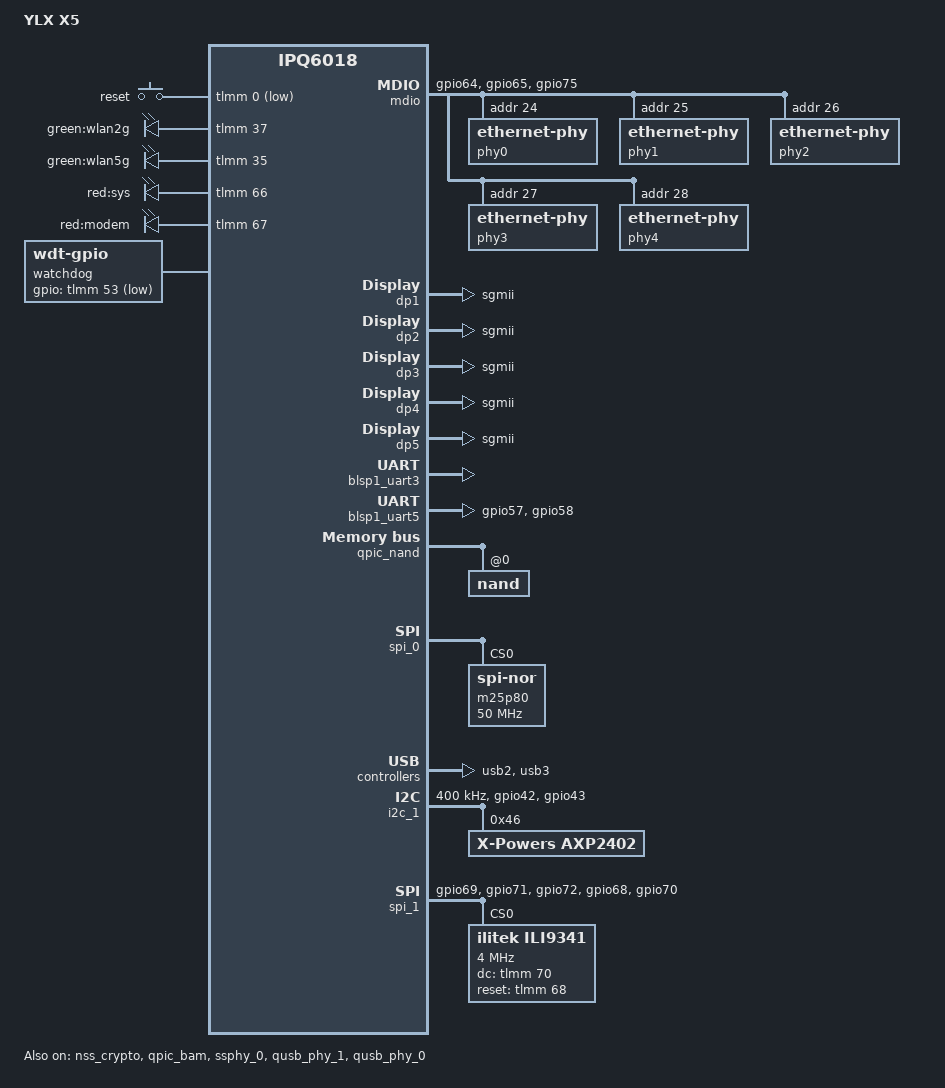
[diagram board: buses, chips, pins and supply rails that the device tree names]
// SPDX-License-Identifier: GPL-2.0-only
/* Copyright (c) 2020 The Linux Foundation. All rights reserved.
 */

/dts-v1/;

#include "ipq6018.dtsi"
#include <dt-bindings/input/input.h>

/ {
	#address-cells = <0x2>;
	#size-cells = <0x2>;
	model = "YLX X5";
	compatible = "ylx,x5", "qcom,ipq6018";
	interrupt-parent = <&intc>;
	qcom,msm-id = <0x1A5 0x0>;

	aliases {
		led-boot = &led_sys;
		led-failsafe = &led_sys;
		led-running = &led_sys;
		led-upgrade = &led_sys;
		serial0 = &blsp1_uart3;
		serial1 = &blsp1_uart2;
		serial2 = &blsp1_uart5;

		ethernet0 = "/soc/dp1";
		ethernet1 = "/soc/dp2";
		ethernet2 = "/soc/dp3";
		ethernet3 = "/soc/dp4";
		ethernet4 = "/soc/dp5";
	};

	chosen {
		stdout-path = "serial0:115200n8";
		bootargs-append = " root=/dev/ubiblock0_1 swiotlb=1 coherent_pool=2M";
	};

	soc {
		mdio:mdio@90000 {
			pinctrl-0 = <&mdio_pins>;
			pinctrl-names = "default";
			phy-reset-gpio = <&tlmm 75 0>;
			status = "ok";

			phy0: ethernet-phy@0 {
				reg = <24>;
			};
			phy1: ethernet-phy@1 {
				reg = <25>;
			};
			phy2: ethernet-phy@2 {
				reg = <26>;
			};
			phy3: ethernet-phy@3 {
				reg = <27>;
			};
			phy4: ethernet-phy@4 {
				reg = <28>;
			};
		};

		ess-switch@3a000000 {
			switch_cpu_bmp = <0x1>;  /* cpu port bitmap */
			switch_lan_bmp = <0x1e>; /* lan port bitmap */
			switch_wan_bmp = <0x20>; /* wan port bitmap */
			switch_inner_bmp = <0xc0>; /*inner port bitmap*/
			switch_mac_mode = <0x0>; /* mac mode for uniphy 0*/
			switch_mac_mode1 = <0xff>; /* mac mode for uniphy 1*/
			switch_mac_mode2 = <0xff>; /* mac mode for uniphy 2*/

			qcom,port_phyinfo {
				port@0 {
					port_id = <1>;
					phy_address = <24>;
				};
				port@1 {
					port_id = <2>;
					phy_address = <25>;
				};
				port@2 {
					port_id = <3>;
					phy_address = <26>;
				};
				port@3 {
					port_id = <4>;
					phy_address = <27>;
				};
				port@4 {
					port_id = <5>;
					phy_address = <28>;
				};
			};
		};

		dp1 {
			device_type = "network";
			compatible = "qcom,nss-dp";
			qcom,id = <1>;
			reg = <0x3a001000 0x200>;
			qcom,mactype = <0>;
			local-mac-address = [000000000000];
			qcom,link-poll = <1>;
			qcom,phy-mdio-addr = <24>;
			phy-mode = "sgmii";
		};

		dp2 {
			device_type = "network";
			compatible = "qcom,nss-dp";
			qcom,id = <2>;
			reg = <0x3a001200 0x200>;
			qcom,mactype = <0>;
			local-mac-address = [000000000000];
			qcom,link-poll = <1>;
			qcom,phy-mdio-addr = <25>;
			phy-mode = "sgmii";
		};

		dp3 {
			device_type = "network";
			compatible = "qcom,nss-dp";
			qcom,id = <3>;
			reg = <0x3a001400 0x200>;
			qcom,mactype = <0>;
			local-mac-address = [000000000000];
			qcom,link-poll = <1>;
			qcom,phy-mdio-addr = <26>;
			phy-mode = "sgmii";
		};

		dp4 {
			device_type = "network";
			compatible = "qcom,nss-dp";
			qcom,id = <4>;
			reg = <0x3a001600 0x200>;
			qcom,mactype = <0>;
			local-mac-address = [000000000000];
			qcom,link-poll = <1>;
			qcom,phy-mdio-addr = <27>;
			phy-mode = "sgmii";
		};

		dp5 {
			device_type = "network";
			compatible = "qcom,nss-dp";
			qcom,id = <5>;
			reg = <0x3a001800 0x200>;
			qcom,mactype = <0>;
			local-mac-address = [000000000000];
			qcom,link-poll = <1>;
			qcom,phy-mdio-addr = <28>;
			phy-mode = "sgmii";
		};

		gpio_keys {
			compatible = "gpio-keys";
			pinctrl-0 = <&button_pins>;
			pinctrl-names = "default";

			reset {
				label = "reset";
				linux,code = <KEY_RESTART>;
				gpios = <&tlmm 0 GPIO_ACTIVE_LOW>;
				linux,input-type = <1>;
				debounce-interval = <60>;
			};
		};

		leds {
			compatible = "gpio-leds";
			pinctrl-0 = <&leds_pins>;
			pinctrl-names = "default";

			wlan2g {
				label = "green:wlan2g";
				gpios = <&tlmm 37 GPIO_ACTIVE_HIGH>;
			};

			wlan5g {
				label = "green:wlan5g";
				gpios = <&tlmm 35 GPIO_ACTIVE_HIGH>;
			};

			led_sys: sys {
				label = "red:sys";
				gpios = <&tlmm 66 GPIO_ACTIVE_HIGH>;
			};

			modem {
				label = "red:modem";
				gpios = <&tlmm 67 GPIO_ACTIVE_HIGH>;
			};
		};

		watchdog {
			compatible = "linux,wdt-gpio";
			gpios = <&tlmm 53 GPIO_ACTIVE_LOW>;
			pinctrl-0 = <&wdt_pins>;
			pinctrl-names = "default";
			hw_algo = "toggle";
			hw_margin_ms = <1600>;
			always-running;
		};

		sd-pwrseq {
			/delete-property/ reset-gpios;
			status = "disabled";
		};
	};
};

&tlmm {
	button_pins: button_pins {
		reset_button {
			pins = "gpio0";
			function = "gpio";
			drive-strength = <8>;
			bias-pull-up;
		};
	};

	i2c_1_pins: i2c_1_pins {
		mux {
			pins = "gpio42", "gpio43";
			function = "blsp2_i2c";
			drive-strength = <8>;
			bias-pull-down;
		};
	};

	spi_1_pins: spi_1_pins {
		mux {
			pins = "gpio69", "gpio71", "gpio72";
			function = "blsp1_spi";
			drive-strength = <8>;
			bias-pull-down;
		};
		mux2 {
			pins = "gpio68","gpio70";
			function = "gpio";
			drive-strength = <8>;
			bias-pull-down;
		};
	};

	axp2402_irq: axp2402_irq {
		mux{
			pins = "gpio33";
			function = "gpio";
			drive-strength = <8>;
			bias-disable;
		};
	};

	aw9523_irq: aw9523_irq {
		mux {
			pins = "gpio51";
			function = "gpio";
			drive-strength = <8>;
			bias-disable;
		};
	};

	mdio_pins: mdio_pinmux {
		mux_0 {
			pins = "gpio64";
			function = "mdc";
			drive-strength = <8>;
			bias-pull-up;
		};
		mux_1 {
			pins = "gpio65";
			function = "mdio";
			drive-strength = <8>;
			bias-pull-up;
		};
		mux_2 {
			pins = "gpio75";
			function = "gpio";
			bias-pull-up;
		};
	};

	// uart2_pins: uart2_pins {
	// 	mux {
	// 		pins = "gpio71", "gpio72";
	// 		function = "blsp1_uart";
	// 		drive-strength = <8>;
	// 		bias-disable;
	// 	};
	// };

	hsuart_pins: hsuart_pins {
		mux {
			pins = "gpio57", "gpio58";
			function = "blsp4_uart";
			drive-strength = <8>;
			bias-disable;
		};
	};

	wdt_pins: wdt_pins {
		mux {
			pins = "gpio53";
			function = "gpio";
			drive-strength = <8>;
			bias-disable;
			output-high;
		};
	};

	leds_pins: leds_pins {
		wlan2g {
			pins = "gpio37";
			function = "gpio";
			drive-strength = <8>;
			bias-pull-down;
		};

		wlan5g {
			pins = "gpio35";
			function = "gpio";
			drive-strength = <8>;
			bias-pull-down;
		};

		sys {
			pins = "gpio66";
			function = "gpio";
			drive-strength = <8>;
			bias-pull-down;
		};

		modem {
			pins = "gpio67";
			function = "gpio";
			drive-strength = <8>;
			bias-pull-down;
		};
	};
};

// &blsp1_uart2 {
// 	pinctrl-0 = <&uart2_pins>;
// 	pinctrl-names = "default";
// 	dmas = <&blsp_dma 2>,
// 		<&blsp_dma 3>;
// 	dma-names = "tx", "rx";
// 	status = "ok";
// };

&blsp1_uart3 {
	pinctrl-0 = <&serial_3_pins>;
	pinctrl-names = "default";
	status = "ok";
};

&blsp1_uart5 {
	pinctrl-0 = <&hsuart_pins>;
	pinctrl-names = "default";
	dmas = <&blsp_dma 8>,
		<&blsp_dma 9>;
	dma-names = "tx", "rx";
	status = "ok";
};

&nss_crypto {
	status = "ok";
};

&qpic_bam {
	status = "ok";
};

&qpic_nand {
	status = "ok";

	nand@0 {
		reg = <0>;
		#address-cells = <1>;
		#size-cells = <1>;

		nand-ecc-strength = <4>;
		nand-ecc-step-size = <512>;
		nand-bus-width = <8>;
	};
};


&spi_0 {
	cs-select = <0>;
	status = "ok";

	m25p80@0 {
		compatible = "jedec,spi-nor", "n25q128a11";
		#address-cells = <1>;
		#size-cells = <1>;
		reg = <0>;
		spi-max-frequency = <50000000>;
	};
};

&ssphy_0 {
	status = "ok";
};

&qusb_phy_1{
	status = "ok";
};

&qusb_phy_0 {
	status = "ok";
};

&usb2 {
	status = "ok";
};

&usb3 {
	status = "ok";
};

&CPU0 {
	operating-points = <
		/* kHz   uV (fixed) */
		864000   1100000
		1056000  1100000
		1320000  1100000
		1440000  1100000
		1608000  1100000
		1800000  1100000
	>;
	clock-latency = <200000>;
};

&CPU1 {
	operating-points = <
		/* kHz   uV (fixed) */
		864000   1100000
		1056000  1100000
		1320000  1100000
		1440000  1100000
		1608000  1100000
		1800000  1100000
	>;
	clock-latency = <200000>;
};

&CPU2 {
	operating-points = <
		/* kHz   uV (fixed) */
		864000   1100000
		1056000  1100000
		1320000  1100000
		1440000  1100000
		1608000  1100000
		1800000  1100000
	>;
	clock-latency = <200000>;
};

&CPU3 {
	operating-points = <
		/* kHz   uV (fixed) */
		864000   1100000
		1056000  1100000
		1320000  1100000
		1440000  1100000
		1608000  1100000
		1800000  1100000
	>;
	clock-latency = <200000>;
};

&i2c_1 {
	pinctrl-0 = <&i2c_1_pins>;
	pinctrl-names = "default";
	clock-frequency  = <400000>;
	status = "ok";
	axp2402@46{
			compatible = "X-Powers, axp2402";
			reg = <0x46>;
			status = "ok";
			axp2402-charger{
				compatible = "X-Powers, axp2402-charger";
				pinctrl-0 = <&axp2402_irq>;
				pinctrl-names = "default";
				irqpin-gpios = <&tlmm 33 GPIO_ACTIVE_LOW>;
				ichg_cc = <1536>;			//最大充电电流
				idpm = <3072>;				//最大输入电流
				chg_target_voltage = <8440>;	//电池电压
				vsys_min=<5400>;         //设置放电保护电压
				battery_max_capacity = <15000>;	//电池最大容量
				status = "ok";
				};
			};
	// 	aw9523b: gpio@58 {
	// 	compatible = "awinic,aw9523b";
	// 	reg = <0x58>;

	// 	status = "okay";

	// 	interrupt-parent = <&tlmm>;
	// 	interrupts = <51 IRQ_TYPE_LEVEL_LOW>;
	// 	gpio-controller;
	// 	#gpio-cells = <2>;
	// 	interrupt-controller;
	// 	#interrupt-cells = <2>;

	// 	pinctrl-names = "default";
	// 	pinctrl-0 = <&aw9523_irq>;
		
	// 	gpio-line-names = "P0_0", "P0_1", "P0_2", "P0_3", "P0_4", "P0_5", "P0_6", "P0_7", 
	// 		"P1_0", "P1_1", "P1_2", "P1_3", "P1_4", "P1_5", "P1_6", "P1_7";
	// };
};

&spi_1 { /* BLSP1 QUP1 */
	pinctrl-0 = <&spi_1_pins>;
	pinctrl-names = "default";
	cs-select = <0>;
	status = "ok";
	ili9341@0 {
		#address-cells = <1>;
		#size-cells = <1>;
		compatible = "ilitek,ili9341";
		reg = <0>;
		spi-max-frequency = <4000000>;
		//txbuflen = <16>;
		rotate = <270>;
		bgr;
		fps = <10>;
		buswidth = <8>;
		// dc-gpios = <&tlmm 70 GPIO_ACTIVE_LOW>;
		// reset-gpios = <&tlmm 68 GPIO_ACTIVE_LOW>;
		dc-gpios = <&tlmm 70 GPIO_ACTIVE_HIGH>;
		reset-gpios  = <&tlmm 68 GPIO_ACTIVE_HIGH>;
		debug = <0>;
	};
	// st7789v@0 {
	// 	#address-cells = <1>;
	// 	#size-cells = <1>;
	// 	compatible = "sitronix,st7789v";
	// 	reg = <0>;
	// 	spi-max-frequency = <2000000>;
	// 	// txbuflen = <16>;
	// 	rotate = <270>;
	// 	bgr;
	// 	fps = <5>;
	// 	buswidth = <8>;
	// 	dc-gpios = <&tlmm 70 GPIO_ACTIVE_LOW>;
	// 	reset-gpios = <&tlmm 68 GPIO_ACTIVE_LOW>;
	// 	debug = <0>;
	// 	gamma = "d0,00,02,07,0b,1a,31,54,40,29,12,12,12,17;d0,00,02,07,05,25,2d,44,45,1c,18,16,1c,1d";
	// 	};
};

&rpm_glink {
	status = "disabled";
};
